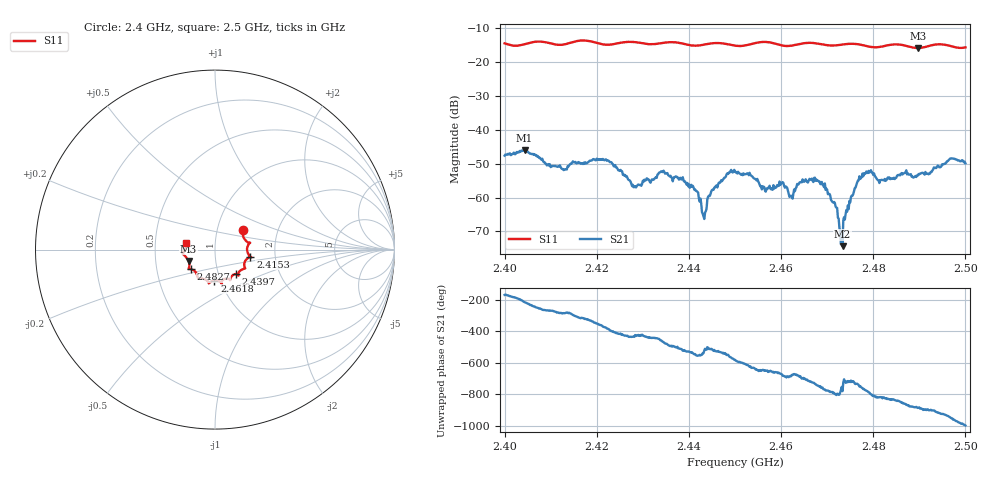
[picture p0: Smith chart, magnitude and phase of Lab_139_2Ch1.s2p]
# Hz S RI R 50
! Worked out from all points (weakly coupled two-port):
!   601 points, 2.4 GHz to 2.5 GHz, reference 50 ohm
!   highest |S21| = -45.97 dB at 2.4043 GHz (marker M1); lowest = -74.3 dB at 2.4733 GHz (marker M2)
!   lowest |S11| = -15.9 dB at 2.4897 GHz (marker M3), VSWR 1.38, Z = 36.9 - j4.82 ohm
!   |S11| at or under -10 dB: start of sweep to end of sweep
!   S12 and S22 are empty: the file has one direction only
!   S11 on the Smith chart (normalised r, x): 2.4 GHz: 1.33, +0.29; 2.4153 GHz: 1.48, -0.12; 2.4397 GHz: 1.21, -0.34; 2.4618 GHz: 0.94, -0.33; 2.4827 GHz: 0.75, -0.17; 2.5 GHz: 0.72, +0.06
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2.4e9  0.1549 0.1067  -0.00406 -0.000859  0 0  0 0
2.404333e9  0.1771 0.0445  -0.00417 0.00282  0 0  0 0
2.412833e9  0.1806 -0.0122  0.0006 0.00246  0 0  0 0
2.415333e9  0.1968 -0.0391  0.00182 0.00282  0 0  0 0
2.416667e9  0.2027 -0.0431  0.00219 0.00234  0 0  0 0
2.422333e9  0.1656 -0.0685  0.00328 -0.0013  0 0  0 0
2.428167e9  0.1664 -0.1046  0.000399 -0.00137  0 0  0 0
2.433333e9  0.13 -0.1338  0.000137 -0.00221  0 0  0 0
2.439667e9  0.1168 -0.1364  -0.0016 -0.000353  0 0  0 0
2.4415e9  0.0993 -0.1425  -0.00124 0.000205  0 0  0 0
2.443333e9  0.0871 -0.1579  -0.000456 -0.000158  0 0  0 0
2.445333e9  0.0836 -0.1698  -0.00124 -0.000374  0 0  0 0
2.45e9  0.0649 -0.1619  -0.00185 0.00156  0 0  0 0
2.461833e9  -0.00312 -0.1724  0.000844 0.000574  0 0  0 0
2.466667e9  -0.0345 -0.1879  0.0019 -9.86e-05  0 0  0 0
2.47e9  -0.0476 -0.1701  0.000745 -0.00107  0 0  0 0
2.473333e9  -0.0836 -0.1601  9.88e-05 -0.000164  0 0  0 0
2.477167e9  -0.097 -0.152  0.00168 -0.00084  0 0  0 0
2.482667e9  -0.1351 -0.1087  -0.000449 -0.0017  0 0  0 0
2.483333e9  -0.1402 -0.1084  -0.00061 -0.00181  0 0  0 0
2.489667e9  -0.1472 -0.0637  -0.00204 -0.000532  0 0  0 0
2.5e9  -0.1593 0.0387  0.000366 0.00318  0 0  0 0
